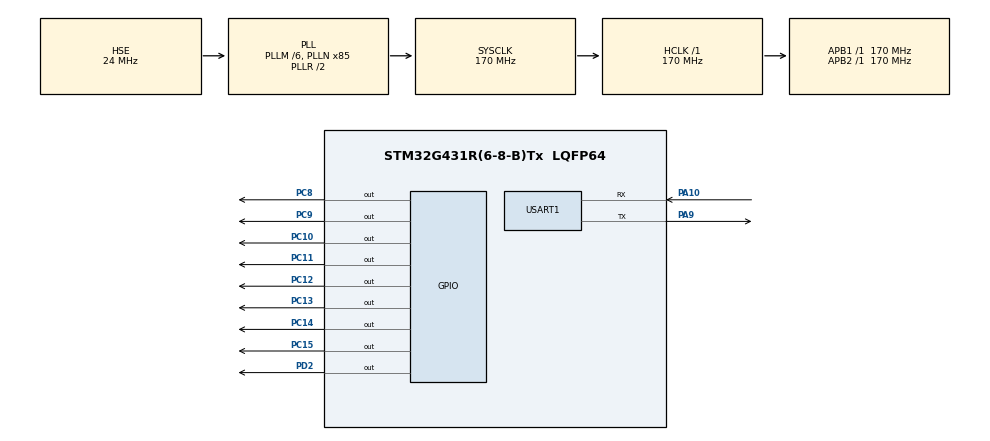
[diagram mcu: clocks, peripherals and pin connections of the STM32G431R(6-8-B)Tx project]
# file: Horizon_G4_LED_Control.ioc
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Mcu.Family=STM32G4
Mcu.Name=STM32G431R(6-8-B)Tx
Mcu.Package=LQFP64
NVIC.PriorityGroup=NVIC_PRIORITYGROUP_4
PA10.GPIO_ModeDefaultPP=GPIO_MODE_AF_PP
PA10.Mode=Asynchronous
PA10.Signal=USART1_RX
PA13.Mode=Serial_Wire
PA13.Signal=SYS_JTMS-SWDIO
PA14.Mode=Serial_Wire
PA14.Signal=SYS_JTCK-SWCLK
PA9.Mode=Asynchronous
PA9.Signal=USART1_TX
PC10.GPIO_ModeDefaultOutputPP=GPIO_MODE_OUTPUT_PP
PC10.PinState=GPIO_PIN_SET
PC10.Signal=GPIO_Output
PC11.GPIO_ModeDefaultOutputPP=GPIO_MODE_OUTPUT_PP
PC11.PinState=GPIO_PIN_SET
PC11.Signal=GPIO_Output
PC12.GPIO_ModeDefaultOutputPP=GPIO_MODE_OUTPUT_PP
PC12.PinState=GPIO_PIN_SET
PC12.Signal=GPIO_Output
PC13.GPIO_ModeDefaultOutputPP=GPIO_MODE_OUTPUT_PP
PC13.PinState=GPIO_PIN_SET
PC13.Signal=GPIO_Output
PC14-OSC32_IN.GPIO_ModeDefaultOutputPP=GPIO_MODE_OUTPUT_PP
PC14-OSC32_IN.PinState=GPIO_PIN_SET
PC14-OSC32_IN.Signal=GPIO_Output
PC15-OSC32_OUT.GPIO_ModeDefaultOutputPP=GPIO_MODE_OUTPUT_PP
PC15-OSC32_OUT.PinState=GPIO_PIN_SET
PC15-OSC32_OUT.Signal=GPIO_Output
PC8.GPIO_ModeDefaultOutputPP=GPIO_MODE_OUTPUT_PP
PC8.PinState=GPIO_PIN_SET
PC8.Signal=GPIO_Output
PC9.GPIO_ModeDefaultOutputPP=GPIO_MODE_OUTPUT_PP
PC9.PinState=GPIO_PIN_SET
PC9.Signal=GPIO_Output
PD2.GPIO_ModeDefaultOutputPP=GPIO_MODE_OUTPUT_PP
PD2.Signal=GPIO_Output
PF0-OSC_IN.Mode=HSE-External-Oscillator
PF0-OSC_IN.Signal=RCC_OSC_IN
PF1-OSC_OUT.Mode=HSE-External-Oscillator
PF1-OSC_OUT.Signal=RCC_OSC_OUT
ProjectManager.HeapSize=0x200
ProjectManager.StackSize=0x400
ProjectManager.TargetToolchain=MDK-ARM V5
RCC.ADC12Freq_Value=170000000
RCC.AHBFreq_Value=170000000
RCC.APB1Freq_Value=170000000
RCC.APB1TimFreq_Value=170000000
RCC.APB2Freq_Value=170000000
RCC.APB2TimFreq_Value=170000000
RCC.CortexFreq_Value=170000000
RCC.EXTERNAL_CLOCK_VALUE=12288000
RCC.HCLKFreq_Value=170000000
RCC.HSE_VALUE=24000000
RCC.HSI48_VALUE=48000000
RCC.HSI_VALUE=16000000
RCC.LSE_VALUE=32768
RCC.PLLM=RCC_PLLM_DIV6
RCC.PLLN=85
RCC.PLLSourceVirtual=RCC_PLLSOURCE_HSE
RCC.SYSCLKFreq_VALUE=170000000
RCC.SYSCLKSource=RCC_SYSCLKSOURCE_PLLCLK
RCC.USBFreq_Value=170000000
RCC.VCOOutputFreq_Value=340000000
USART1.VirtualMode-Asynchronous=VM_ASYNC
VP_SYS_VS_DBSignals.Mode=DisableDeadBatterySignals
board=custom

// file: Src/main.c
/* USER CODE BEGIN Header */
/**
  ******************************************************************************
  * @file           : main.c
  * @brief          : Main program body
  ******************************************************************************
  * @attention
  *
  * Copyright (c) 2026 STMicroelectronics.
  * All rights reserved.
  *
  * This software is licensed under terms that can be found in the LICENSE file
  * in the root directory of this software component.
  * If no LICENSE file comes with this software, it is provided AS-IS.
  *
  ******************************************************************************
  */
/* USER CODE END Header */
#include "main.h"
#include "usart.h"
#include "gpio.h"

/* USER CODE BEGIN Includes */
#include <stdio.h>
/* USER CODE END Includes */

/* USER CODE BEGIN PV */
uint8_t receive_data; // 定义一个“接球”的变量
/* USER CODE END PV */

void SystemClock_Config(void);

int main(void)
{

  /* MCU Configuration--------------------------------------------------------*/

  /* Reset of all peripherals, Initializes the Flash interface and the Systick. */
  HAL_Init();

  /* Configure the system clock */
  SystemClock_Config();

  /* Initialize all configured peripherals */
  MX_GPIO_Init();
  MX_USART1_UART_Init();
  /* USER CODE BEGIN 2 */
  HAL_GPIO_WritePin(GPIOC, GPIO_PIN_All, GPIO_PIN_SET); // 灭灯
  HAL_GPIO_WritePin(GPIOD, GPIO_PIN_2, GPIO_PIN_SET);   // 开闸
  HAL_GPIO_WritePin(GPIOD, GPIO_PIN_2, GPIO_PIN_RESET); // 关闸
  /* USER CODE END 2 */

  /* Infinite loop */
  /* USER CODE BEGIN WHILE */
  while (1)
{
    // 1. 询问串口：电脑有没有给我发东西？ (接收 1 个字节)
    if(HAL_UART_Receive(&huart1, &receive_data, 1, 10) == HAL_OK)
    {
        if(receive_data == '1') // 如果收到字符 '1'
        {
            HAL_GPIO_WritePin(GPIOD, GPIO_PIN_2, GPIO_PIN_SET);   // 开闸
            HAL_GPIO_WritePin(GPIOC, GPIO_PIN_8, GPIO_PIN_RESET); // 灯亮
            HAL_GPIO_WritePin(GPIOD, GPIO_PIN_2, GPIO_PIN_RESET); // 关闸
            printf("LED IS ON!\r\n"); // 给电脑回个话
        }
        else if(receive_data == '0') // 如果收到字符 '0'
        {
            HAL_GPIO_WritePin(GPIOD, GPIO_PIN_2, GPIO_PIN_SET);   // 开闸
            HAL_GPIO_WritePin(GPIOC, GPIO_PIN_8, GPIO_PIN_SET);   // 灯灭
            HAL_GPIO_WritePin(GPIOD, GPIO_PIN_2, GPIO_PIN_RESET); // 关闸
            printf("LED IS OFF!\r\n");
        }
    }
}
    /* USER CODE END WHILE */

  }

void SystemClock_Config(void)
{
  RCC_OscInitTypeDef RCC_OscInitStruct = {0};
  RCC_ClkInitTypeDef RCC_ClkInitStruct = {0};

  /** Configure the main internal regulator output voltage
  */
  HAL_PWREx_ControlVoltageScaling(PWR_REGULATOR_VOLTAGE_SCALE1_BOOST);

  /** Initializes the RCC Oscillators according to the specified parameters
  * in the RCC_OscInitTypeDef structure.
  */
  RCC_OscInitStruct.OscillatorType = RCC_OSCILLATORTYPE_HSE;
  RCC_OscInitStruct.HSEState = RCC_HSE_ON;
  RCC_OscInitStruct.PLL.PLLState = RCC_PLL_ON;
  RCC_OscInitStruct.PLL.PLLSource = RCC_PLLSOURCE_HSE;
  RCC_OscInitStruct.PLL.PLLM = RCC_PLLM_DIV6;
  RCC_OscInitStruct.PLL.PLLN = 85;
  RCC_OscInitStruct.PLL.PLLP = RCC_PLLP_DIV2;
  RCC_OscInitStruct.PLL.PLLQ = RCC_PLLQ_DIV2;
  RCC_OscInitStruct.PLL.PLLR = RCC_PLLR_DIV2;
  if (HAL_RCC_OscConfig(&RCC_OscInitStruct) != HAL_OK)
  {
    Error_Handler();
  }

  /** Initializes the CPU, AHB and APB buses clocks
  */
  RCC_ClkInitStruct.ClockType = RCC_CLOCKTYPE_HCLK|RCC_CLOCKTYPE_SYSCLK
                              |RCC_CLOCKTYPE_PCLK1|RCC_CLOCKTYPE_PCLK2;
  RCC_ClkInitStruct.SYSCLKSource = RCC_SYSCLKSOURCE_PLLCLK;
  RCC_ClkInitStruct.AHBCLKDivider = RCC_SYSCLK_DIV1;
  RCC_ClkInitStruct.APB1CLKDivider = RCC_HCLK_DIV1;
  RCC_ClkInitStruct.APB2CLKDivider = RCC_HCLK_DIV1;

  if (HAL_RCC_ClockConfig(&RCC_ClkInitStruct, FLASH_LATENCY_4) != HAL_OK)
  {
    Error_Handler();
  }
}

/* USER CODE BEGIN 4 */
// 必须加这个！不然 printf 会卡死单片机
int fputc(int ch, FILE *f)
{
  HAL_UART_Transmit(&huart1, (uint8_t *)&ch, 1, 0xffff);
  return ch;
}
/* USER CODE END 4 */

void Error_Handler(void)
{
  __disable_irq();
  while (1)
  {
  }
}
